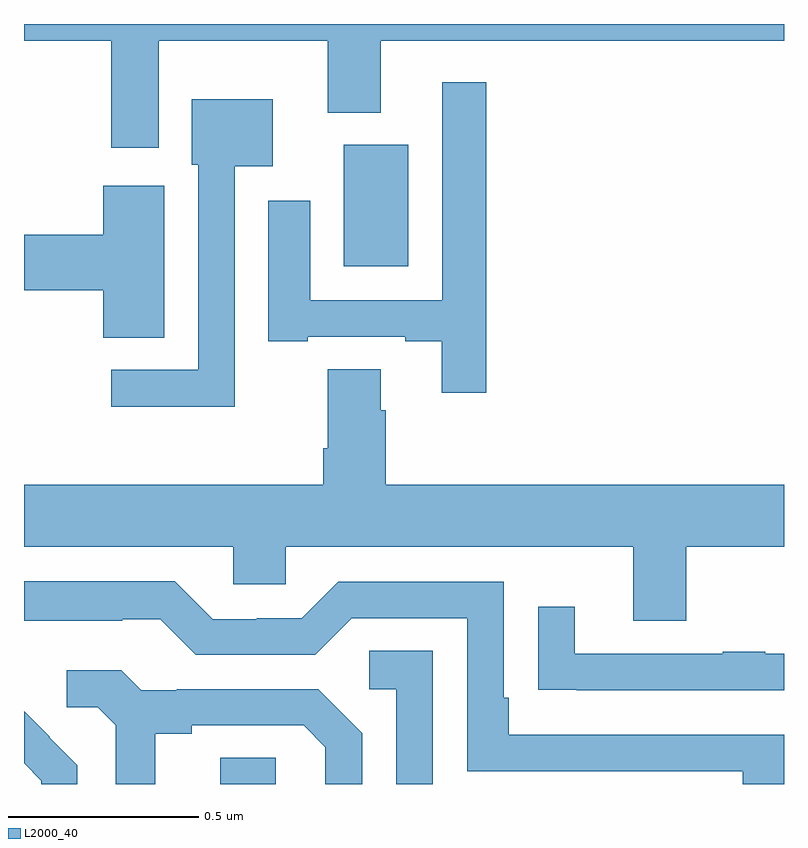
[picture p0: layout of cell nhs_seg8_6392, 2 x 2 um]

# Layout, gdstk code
import gdstk
lib = gdstk.Library(unit=1e-6, precision=1e-09)
def R(c, l, rs):  # rectangles x0, y0, x1, y1
    for r in rs: c.add(gdstk.rectangle(r[:2], r[2:], *l))
def P(c, l, *ps):  # polygons
    for p in ps: c.add(gdstk.Polygon(p, *l))
L2000_40 = (2000, 40)

nhs_seg8_6392 = lib.new_cell('nhs_seg8_6392')
R(nhs_seg8_6392, L2000_40, [(196.517,1091.9,196.662,1091.969), (196.841,1093.262,197.011,1093.582)])
P(nhs_seg8_6392, L2000_40, [(196.354,1093.856),(196.799,1093.856),(196.799,1093.667),(196.939,1093.667),(196.939,1093.856),(198,1093.856),(198,1093.9),(196,1093.9),(196,1093.856),(196.229,1093.856),(196.229,1093.575),(196.354,1093.575)],
  [(197.216,1093.747),(197.1,1093.747),(197.1,1093.173),(196.753,1093.173),(196.753,1093.435),(196.643,1093.435),(196.643,1093.065),(196.747,1093.065),(196.747,1093.077),(197.003,1093.077),(197.003,1093.065),(197.099,1093.065),(197.099,1092.93),(197.216,1092.93)],
  [(196.554,1093.526),(196.654,1093.526),(196.654,1093.702),(196.442,1093.702),(196.442,1093.53),(196.458,1093.53),(196.458,1092.99),(196.23,1092.99),(196.23,1092.893),(196.554,1092.893)],
  [(196.369,1093.474),(196.208,1093.474),(196.208,1093.346),(196,1093.346),(196,1093.199),(196.208,1093.199),(196.208,1093.075),(196.369,1093.075)],
  [(197.743,1092.524),(198,1092.524),(198,1092.688),(196.952,1092.688),(196.952,1092.884),(196.939,1092.884),(196.939,1092.992),(196.799,1092.992),(196.799,1092.784),(196.787,1092.784),(196.787,1092.688),(196,1092.688),(196,1092.524),(196.551,1092.524),(196.551,1092.426),(196.689,1092.426),(196.689,1092.524),(197.603,1092.524),(197.603,1092.33),(197.743,1092.33)],
  [(198,1092.03),(197.275,1092.03),(197.275,1092.127),(197.262,1092.127),(197.262,1092.432),(196.827,1092.432),(196.731,1092.336),(196.613,1092.336),(196.613,1092.333),(196.497,1092.333),(196.397,1092.433),(196,1092.433),(196,1092.329),(196.259,1092.329),(196.259,1092.333),(196.359,1092.333),(196.452,1092.24),(196.767,1092.24),(196.863,1092.336),(197.166,1092.336),(197.166,1091.934),(197.891,1091.934),(197.891,1091.9),(198,1091.9)],
  [(198,1092.243),(197.951,1092.243),(197.951,1092.248),(197.839,1092.248),(197.839,1092.243),(197.449,1092.243),(197.449,1092.367),(197.353,1092.367),(197.353,1092.148),(197.455,1092.148),(197.455,1092.147),(198,1092.147)],
  [(197.076,1092.251),(196.908,1092.251),(196.908,1092.15),(196.98,1092.15),(196.98,1091.9),(197.076,1091.9)],
  [(196.345,1092.032),(196.441,1092.032),(196.441,1092.054),(196.736,1092.054),(196.793,1091.997),(196.793,1091.9),(196.89,1091.9),(196.89,1092.034),(196.774,1092.15),(196.402,1092.15),(196.402,1092.147),(196.308,1092.147),(196.256,1092.199),(196.113,1092.199),(196.113,1092.102),(196.194,1092.102),(196.241,1092.055),(196.241,1091.9),(196.345,1091.9)],
  [(196.14,1091.95),(196.067,1092.023),(196.068,1092.024),(196,1092.092),(196,1091.954),(196.046,1091.909),(196.046,1091.9),(196.14,1091.9)])

lib.write_gds('nhs_seg8_6392.gds')
